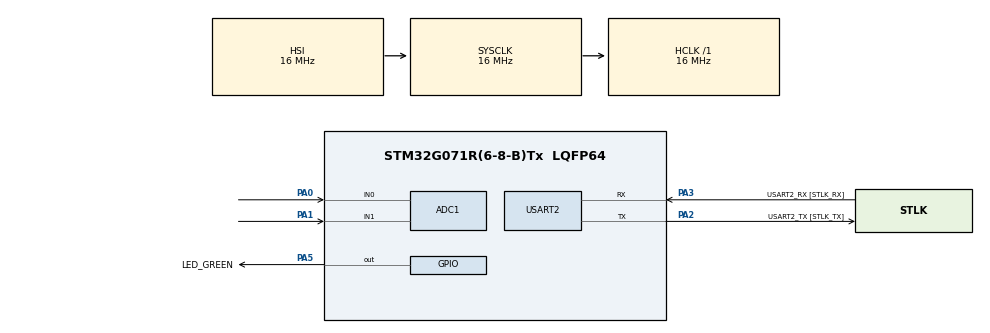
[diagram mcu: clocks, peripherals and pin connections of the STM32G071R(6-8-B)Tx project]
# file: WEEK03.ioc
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ADC1.Channel-1\#ChannelRegularConversion=ADC_CHANNEL_1
ADC1.DiscontinuousConvMode=ENABLE
ADC1.NbrOfConversion=2
ADC1.NbrOfConversionFlag=1
ADC1.Rank-1\#ChannelRegularConversion=2
ADC1.SamplingTime-1\#ChannelRegularConversion=ADC_SAMPLINGTIME_COMMON_1
ADC1.SelectedChannel=ADC_CHANNEL_0|ADC_CHANNEL_1
ADC1.master=1
Mcu.Family=STM32G0
Mcu.Name=STM32G071R(6-8-B)Tx
Mcu.Package=LQFP64
PA0.Mode=IN0
PA0.Signal=ADC1_IN0
PA1.Mode=IN1
PA1.Signal=ADC1_IN1
PA13.GPIO_Label=TMS
PA13.Mode=Serial_Wire
PA13.Signal=SYS_SWDIO
PA14-BOOT0.GPIO_Label=TCK
PA14-BOOT0.Mode=Serial_Wire
PA14-BOOT0.Signal=SYS_SWCLK
PA2.GPIO_Label=USART2_TX [STLK_TX]
PA2.GPIO_PuPd=GPIO_PULLUP
PA2.Mode=Asynchronous
PA2.Signal=USART2_TX
PA3.GPIO_Label=USART2_RX [STLK_RX]
PA3.GPIO_PuPd=GPIO_PULLUP
PA3.Mode=Asynchronous
PA3.Signal=USART2_RX
PA5.GPIO_Label=LED_GREEN
PA5.GPIO_Speed=GPIO_SPEED_FREQ_HIGH
PA5.Signal=GPIO_Output
PC13.Mode=SYS_WakeUp1
PC13.Signal=SYS_WKUP2
PC14-OSC32_IN\ (PC14).Mode=LSE-External-Oscillator
PC14-OSC32_IN\ (PC14).Signal=RCC_OSC32_IN
PC15-OSC32_OUT\ (PC15).Mode=LSE-External-Oscillator
PC15-OSC32_OUT\ (PC15).Signal=RCC_OSC32_OUT
PF0-OSC_IN\ (PF0).GPIO_Label=MCO
PF0-OSC_IN\ (PF0).Mode=HSE-External-Clock-Source
PF0-OSC_IN\ (PF0).Signal=RCC_OSC_IN
ProjectManager.HeapSize=0x200
ProjectManager.StackSize=0x400
ProjectManager.TargetToolchain=STM32CubeIDE
RCC.AHBFreq_Value=16000000
RCC.CortexFreq_Value=16000000
RCC.EXTERNAL_CLOCK_VALUE=12288000
RCC.HCLKFreq_Value=16000000
RCC.HSE_VALUE=8000000
RCC.HSI_VALUE=16000000
RCC.SYSCLKFreq_VALUE=16000000
RCC.VCOOutputFreq_Value=128000000
USART2.VirtualMode-Asynchronous=VM_ASYNC
board=NUCLEO-G071RB

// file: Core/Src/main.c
/* USER CODE BEGIN Header */
/**
  ******************************************************************************
  * @file           : main.c
  * @brief          : Main program body
  ******************************************************************************
  * @attention
  *
  * Copyright (c) 2024 STMicroelectronics.
  * All rights reserved.
  *
  * This software is licensed under terms that can be found in the LICENSE file
  * in the root directory of this software component.
  * If no LICENSE file comes with this software, it is provided AS-IS.
  *
  ******************************************************************************
  */
/* USER CODE END Header */
#include "main.h"

ADC_HandleTypeDef hadc1;

UART_HandleTypeDef huart2;

void SystemClock_Config(void);
static void MX_GPIO_Init(void);
static void MX_USART2_UART_Init(void);
static void MX_ADC1_Init(void);

int main(void)
{

  /* MCU Configuration--------------------------------------------------------*/

  /* Reset of all peripherals, Initializes the Flash interface and the Systick. */
  HAL_Init();

  /* Configure the system clock */
  SystemClock_Config();

  /* Initialize all configured peripherals */
  MX_GPIO_Init();
  MX_USART2_UART_Init();
  MX_ADC1_Init();
  /* USER CODE BEGIN 2 */
  HAL_ADCEx_Calibration_Start(&hadc1);
  HAL_UART_Transmit(&huart2, (uint8_t *)"Fakepng\r\n", 9, 1000);
  /* USER CODE END 2 */

  /* Infinite loop */
  /* USER CODE BEGIN WHILE */
  while (1)
  {
	  uint16_t adc_value[0] = {0, 0};
	  char adc_value_string[30];
	  int adc_value_string_size = 0;

	  HAL_ADC_Start(&hadc1);
	  HAL_ADC_PollForConversion(&hadc1, 1000);
	  adc_value[0] = HAL_ADC_GetValue(&hadc1);

	  HAL_ADC_Start(&hadc1);
	  HAL_ADC_PollForConversion(&hadc1, 1000);
	  adc_value[1] = HAL_ADC_GetValue(&hadc1);

	  HAL_ADC_Stop(&hadc1);

	  adc_value_string_size = sprintf(adc_value_string, "%d, %d\r\n", adc_value[0], adc_value[1]);
	  HAL_UART_Transmit(&huart2, adc_value_string, adc_value_string_size, 1000);

	  HAL_Delay(20);
    /* USER CODE END WHILE */

  }
}

void SystemClock_Config(void)
{
  RCC_OscInitTypeDef RCC_OscInitStruct = {0};
  RCC_ClkInitTypeDef RCC_ClkInitStruct = {0};

  /** Configure the main internal regulator output voltage
  */
  HAL_PWREx_ControlVoltageScaling(PWR_REGULATOR_VOLTAGE_SCALE1);

  /** Initializes the RCC Oscillators according to the specified parameters
  * in the RCC_OscInitTypeDef structure.
  */
  RCC_OscInitStruct.OscillatorType = RCC_OSCILLATORTYPE_HSI;
  RCC_OscInitStruct.HSIState = RCC_HSI_ON;
  RCC_OscInitStruct.HSIDiv = RCC_HSI_DIV1;
  RCC_OscInitStruct.HSICalibrationValue = RCC_HSICALIBRATION_DEFAULT;
  RCC_OscInitStruct.PLL.PLLState = RCC_PLL_NONE;
  if (HAL_RCC_OscConfig(&RCC_OscInitStruct) != HAL_OK)
  {
    Error_Handler();
  }

  /** Initializes the CPU, AHB and APB buses clocks
  */
  RCC_ClkInitStruct.ClockType = RCC_CLOCKTYPE_HCLK|RCC_CLOCKTYPE_SYSCLK
                              |RCC_CLOCKTYPE_PCLK1;
  RCC_ClkInitStruct.SYSCLKSource = RCC_SYSCLKSOURCE_HSI;
  RCC_ClkInitStruct.AHBCLKDivider = RCC_SYSCLK_DIV1;
  RCC_ClkInitStruct.APB1CLKDivider = RCC_HCLK_DIV1;

  if (HAL_RCC_ClockConfig(&RCC_ClkInitStruct, FLASH_LATENCY_0) != HAL_OK)
  {
    Error_Handler();
  }
}

static void MX_ADC1_Init(void)
{

  ADC_ChannelConfTypeDef sConfig = {0};

  /** Configure the global features of the ADC (Clock, Resolution, Data Alignment and number of conversion)
  */
  hadc1.Instance = ADC1;
  hadc1.Init.ClockPrescaler = ADC_CLOCK_SYNC_PCLK_DIV2;
  hadc1.Init.Resolution = ADC_RESOLUTION_12B;
  hadc1.Init.DataAlign = ADC_DATAALIGN_RIGHT;
  hadc1.Init.ScanConvMode = ADC_SCAN_ENABLE;
  hadc1.Init.EOCSelection = ADC_EOC_SINGLE_CONV;
  hadc1.Init.LowPowerAutoWait = DISABLE;
  hadc1.Init.LowPowerAutoPowerOff = DISABLE;
  hadc1.Init.ContinuousConvMode = DISABLE;
  hadc1.Init.NbrOfConversion = 2;
  hadc1.Init.DiscontinuousConvMode = ENABLE;
  hadc1.Init.ExternalTrigConv = ADC_SOFTWARE_START;
  hadc1.Init.ExternalTrigConvEdge = ADC_EXTERNALTRIGCONVEDGE_NONE;
  hadc1.Init.DMAContinuousRequests = DISABLE;
  hadc1.Init.Overrun = ADC_OVR_DATA_PRESERVED;
  hadc1.Init.SamplingTimeCommon1 = ADC_SAMPLETIME_1CYCLE_5;
  hadc1.Init.SamplingTimeCommon2 = ADC_SAMPLETIME_1CYCLE_5;
  hadc1.Init.OversamplingMode = DISABLE;
  hadc1.Init.TriggerFrequencyMode = ADC_TRIGGER_FREQ_HIGH;
  if (HAL_ADC_Init(&hadc1) != HAL_OK)
  {
    Error_Handler();
  }

  /** Configure Regular Channel
  */
  sConfig.Channel = ADC_CHANNEL_0;
  sConfig.Rank = ADC_REGULAR_RANK_1;
  sConfig.SamplingTime = ADC_SAMPLINGTIME_COMMON_1;
  if (HAL_ADC_ConfigChannel(&hadc1, &sConfig) != HAL_OK)
  {
    Error_Handler();
  }

  /** Configure Regular Channel
  */
  sConfig.Channel = ADC_CHANNEL_1;
  sConfig.Rank = ADC_REGULAR_RANK_2;
  if (HAL_ADC_ConfigChannel(&hadc1, &sConfig) != HAL_OK)
  {
    Error_Handler();
  }

}

static void MX_USART2_UART_Init(void)
{

  huart2.Instance = USART2;
  huart2.Init.BaudRate = 115200;
  huart2.Init.WordLength = UART_WORDLENGTH_8B;
  huart2.Init.StopBits = UART_STOPBITS_1;
  huart2.Init.Parity = UART_PARITY_NONE;
  huart2.Init.Mode = UART_MODE_TX_RX;
  huart2.Init.HwFlowCtl = UART_HWCONTROL_NONE;
  huart2.Init.OverSampling = UART_OVERSAMPLING_16;
  huart2.Init.OneBitSampling = UART_ONE_BIT_SAMPLE_DISABLE;
  huart2.Init.ClockPrescaler = UART_PRESCALER_DIV1;
  huart2.AdvancedInit.AdvFeatureInit = UART_ADVFEATURE_NO_INIT;
  if (HAL_UART_Init(&huart2) != HAL_OK)
  {
    Error_Handler();
  }
  if (HAL_UARTEx_SetTxFifoThreshold(&huart2, UART_TXFIFO_THRESHOLD_1_8) != HAL_OK)
  {
    Error_Handler();
  }
  if (HAL_UARTEx_SetRxFifoThreshold(&huart2, UART_RXFIFO_THRESHOLD_1_8) != HAL_OK)
  {
    Error_Handler();
  }
  if (HAL_UARTEx_DisableFifoMode(&huart2) != HAL_OK)
  {
    Error_Handler();
  }

}

static void MX_GPIO_Init(void)
{
  GPIO_InitTypeDef GPIO_InitStruct = {0};

  /* GPIO Ports Clock Enable */
  __HAL_RCC_GPIOC_CLK_ENABLE();
  __HAL_RCC_GPIOF_CLK_ENABLE();
  __HAL_RCC_GPIOA_CLK_ENABLE();

  /*Configure GPIO pin Output Level */
  HAL_GPIO_WritePin(LED_GREEN_GPIO_Port, LED_GREEN_Pin, GPIO_PIN_RESET);

  /*Configure GPIO pin : LED_GREEN_Pin */
  GPIO_InitStruct.Pin = LED_GREEN_Pin;
  GPIO_InitStruct.Mode = GPIO_MODE_OUTPUT_PP;
  GPIO_InitStruct.Pull = GPIO_NOPULL;
  GPIO_InitStruct.Speed = GPIO_SPEED_FREQ_HIGH;
  HAL_GPIO_Init(LED_GREEN_GPIO_Port, &GPIO_InitStruct);

}

void Error_Handler(void)
{
  __disable_irq();
  while (1)
  {
  }
}
